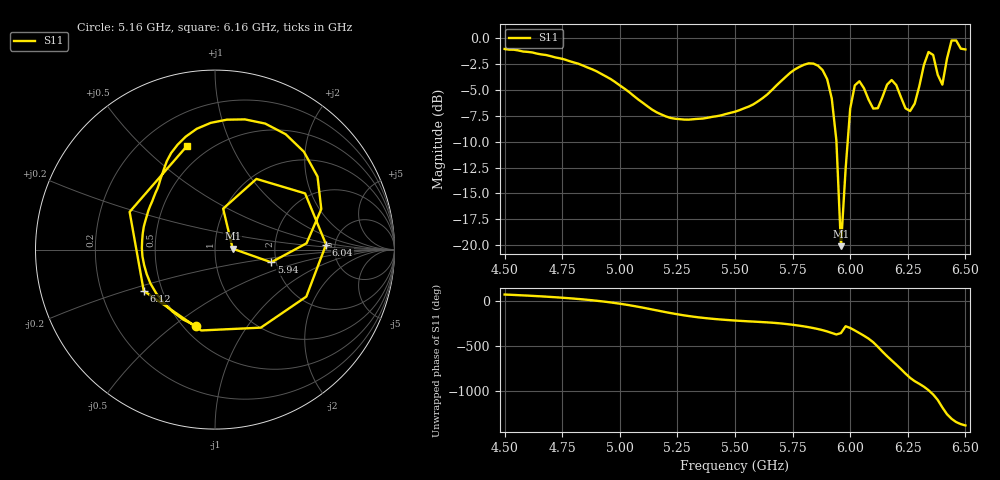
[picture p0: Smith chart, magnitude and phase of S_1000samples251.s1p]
! TOUCHSTONE file generated by CST MICROWAVE STUDIO
! Date and time: Thu Oct 27 12:51:58 2022
! Project name: L.cst
! Parameters = {Di=1.27; Epsilon_r=1.56; InnerDiameter=1.27; Length=2; Lf=10; Lg=60; OuterConductorThickness=0.2921; OuterDiameter=3.6; Wf=3; Wp=41.2; de=1.5; df=6.8; g=0.8; gx=4.66924; gy=1.25858; h=2.34; hf=1.524; px=13.8057; py=13.2371; w=9.7; wx=9.13645; wy=11.9785}
! Header version: 2018
! Port assignment regex: !\s*Touchstone port\s*([0-9]+)\s*=\s*(CST MWS port|CST DS port)\s*([0-9]+|Zmin|Zmax)\s*\(\"(.*)\"\)(\s*mode\s*([0-9]+))?.*
! Touchstone port assignment:
! Touchstone port 1 = CST MWS port 1 ("")
# GHz S DB R 50
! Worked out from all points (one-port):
!   101 points, 4.5 GHz to 6.5 GHz, reference 50 ohm
!   lowest |S11| = -20.1 dB at 5.96 GHz (marker M1), VSWR 1.22, Z = 61 + j0.603 ohm
!   |S11| at or under -10 dB: 5.94 GHz to 5.989 GHz (48.86 MHz wide, 0.819 % of centre)
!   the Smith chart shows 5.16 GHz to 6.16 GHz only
!   S11 on the Smith chart (normalised r, x): 5.16 GHz: 0.57, -0.60; 5.94 GHz: 1.88, -0.30; 6.04 GHz: 4.22, +0.39; 6.12 GHz: 0.39, -0.23; 6.16 GHz: 0.39, +0.69
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4.5  -1.04 72.2
4.76  -2.06 34.9
5  -4.56 -30.0
5.16  -7.16 -104.1
5.26  -7.82 -152.0
5.5  -7.11 142.5
5.76  -3.02 91.9
5.88  -3.08 35.5
5.94  -9.87 -12.7
5.96  -20.09 2.8
6  -6.81 59.6
6.04  -4.16 2.6
6.08  -5.95 -59.6
6.12  -6.77 -149.9
6.14  -5.68 156.2
6.16  -4.49 105.4
6.2  -4.53 10.9
6.22  -5.68 -37.9
6.26  -7.04 -136.2
6.3  -4.63 157.0
6.34  -1.34 86.0
6.36  -1.62 38.7
6.38  -3.54 -22.7
6.4  -4.49 -106.2
6.42  -2.00 178.9
6.44  -0.22 127.2
6.46  -0.22 90.6
6.5  -1.09 53.0
